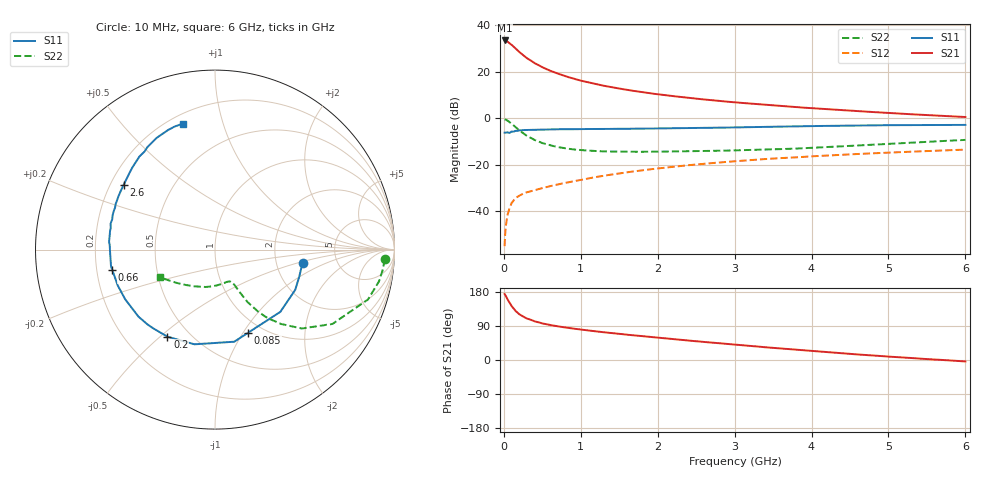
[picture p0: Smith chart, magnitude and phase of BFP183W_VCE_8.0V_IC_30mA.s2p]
! Infineon Technologies  Discrete & RF Semiconductors
! BFP183W
! VCE = 8.0 V,  IC =  30 mA
! Common Emitter S-Parameters:  Jan 2016
# GHz  S  MA  R  50
!  f  S11  S21  S12  S22
! GHz  MAG  ANG  MAG  ANG  MAG  ANG  MAG  ANG
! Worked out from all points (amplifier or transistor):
!   210 points, 10 MHz to 6 GHz, reference 50 ohm
!   highest |S21| = 33.5 dB at 10 MHz (marker M1)
!   |S21| within 3 dB of that: start of sweep to 137.7 MHz
!   unconditionally stable (mu >= 1): 851.6 MHz to 5.321 GHz
!   at 185 MHz: K = 0.40, MSG = 31.3 dB, |S12| = -33.6 dB
!   at 1.52 GHz: K = 1.11, MAG = 16.0 dB, |S12| = -23.5 dB
!   at 6 GHz: K = 0.98, MSG = 7.0 dB, |S12| = -13.4 dB
!   S11 on the Smith chart (normalised r, x): 10 MHz: 2.83, -0.54; 85 MHz: 0.85, -1.05; 200 MHz: 0.38, -0.53; 660 MHz: 0.27, -0.09; 2.6 GHz: 0.25, +0.30; 6 GHz: 0.25, +0.75
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0.01  0.4932 -8.5  47.19 174.1  0.0018 87.0  0.9478 -3.3
0.02  0.4932 -18.0  46.7 171.0  0.0038 78.2  0.9403 -7.3
0.03  0.5 -26.7  46.39 167.0  0.0054 79.9  0.9306 -11.0
0.05  0.5028 -43.6  44.4 158.9  0.0087 73.3  0.8963 -18.1
0.085  0.4986 -68.3  39.75 147.8  0.0131 63.2  0.8057 -27.6
0.1  0.5243 -78.2  38.29 142.3  0.0151 60.7  0.7748 -32.3
0.15  0.5399 -102.2  32.03 129.6  0.0193 54.4  0.6534 -42.3
0.2  0.5529 -118.6  26.78 120.8  0.0218 51.2  0.554 -48.4
0.26  0.5615 -132.2  22.2 113.4  0.0245 48.6  0.4672 -53.1
0.3  0.5669 -138.8  19.66 109.4  0.0259 48.0  0.4204 -55.2
0.4  0.572 -151.2  15.38 102.0  0.0286 48.1  0.3437 -58.2
0.5  0.5775 -159.8  12.57 96.5  0.0318 49.6  0.2951 -59.4
0.66  0.5836 -168.9  9.744 90.3  0.0368 52.1  0.2511 -60.4
0.8  0.5837 -174.9  8.041 85.7  0.0413 54.2  0.2273 -61.1
1.02  0.5867 177.9  6.358 79.9  0.0486 56.4  0.2076 -62.7
1.4  0.5937 168.0  4.672 71.1  0.0621 57.8  0.1941 -66.3
2.02  0.6094 154.9  3.269 58.7  0.0847 57.1  0.1929 -75.5
2.6  0.6236 144.7  2.552 47.6  0.1057 54.7  0.1995 -86.2
3.1  0.6446 136.5  2.147 39.0  0.1234 51.7  0.2072 -97.0
4.1  0.6867 122.3  1.62 22.4  0.1561 45.4  0.2372 -120.9
5.1  0.7155 111.5  1.279 7.8  0.1869 38.8  0.2905 -141.3
6  0.7247 104.2  1.07 -3.8  0.2134 33.4  0.3451 -153.6
